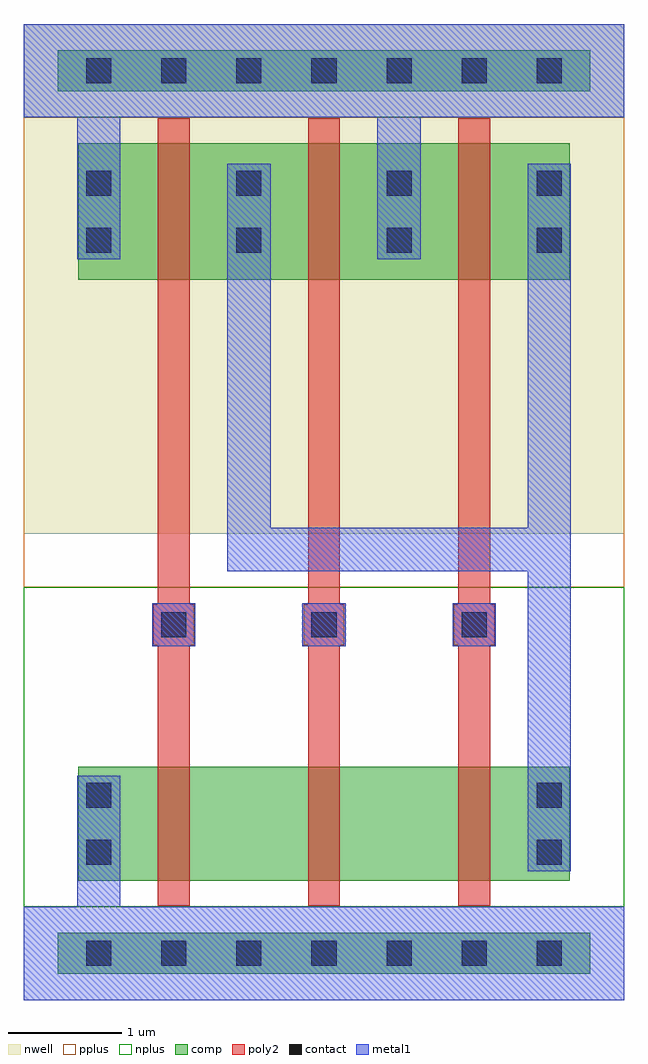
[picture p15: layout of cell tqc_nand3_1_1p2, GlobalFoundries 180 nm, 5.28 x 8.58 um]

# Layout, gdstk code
import gdstk
lib = gdstk.Library(unit=1e-6, precision=1e-09)
def R(c, l, rs):  # rectangles x0, y0, x1, y1
    for r in rs: c.add(gdstk.rectangle(r[:2], r[2:], *l))
def A(c, l, x, y, w, h, nx, ny, dx, dy):  # array of equal rectangles
    R(c, l, [(x+i*dx, y+j*dy, x+i*dx+w, y+j*dy+h) for i in range(nx) for j in range(ny)])
nwell = (21, 0)
comp = (22, 0)
poly2 = (30, 0)
pplus = (31, 0)
nplus = (32, 0)
contact = (33, 0)
metal1 = (34, 0)

tqc_nand3_1_1p2 = lib.new_cell('tqc_nand3_1_1p2')
R(tqc_nand3_1_1p2, nwell, [(0,4.1,5.28,8.58)])
R(tqc_nand3_1_1p2, comp, [(0.3,0.23,4.98,0.59), (0.48,1.05,4.8,2.05), (0.48,6.33,4.8,7.53), (0.3,7.99,4.98,8.35)])
A(tqc_nand3_1_1p2, poly2, 1.18, 0.83, 0.28, 6.92, 3, 1, 1.32, 0)
A(tqc_nand3_1_1p2, poly2, 1.14, 3.12, 0.36, 0.36, 3, 1, 1.32, 0)
R(tqc_nand3_1_1p2, pplus, [(0,0,5.28,0.82), (0,3.63,5.28,7.76)])
R(tqc_nand3_1_1p2, nplus, [(0,0.82,5.28,3.63), (0,7.76,5.28,8.58)])
A(tqc_nand3_1_1p2, contact, 0.55, 0.3, 0.22, 0.22, 7, 2, 0.66, 7.76)
A(tqc_nand3_1_1p2, contact, 1.21, 3.19, 0.22, 0.22, 3, 1, 1.32, 0)
A(tqc_nand3_1_1p2, contact, 0.55, 6.57, 0.22, 0.22, 4, 2, 1.32, 0.5)
R(tqc_nand3_1_1p2, contact, [(0.55,1.19,0.77,1.41), (4.51,1.19,4.73,1.41), (0.55,1.69,0.77,1.91), (4.51,1.69,4.73,1.91)])
A(tqc_nand3_1_1p2, metal1, 1.13, 3.11, 0.38, 0.38, 3, 1, 1.32, 0)
R(tqc_nand3_1_1p2, metal1, [(0,0,5.28,0.82), (0.47,0,0.85,1.97), (4.43,1.13,4.81,1.97), (4.43,1.87,4.81,4.15), (1.79,3.77,4.81,4.15), (1.79,3.77,2.17,6.61), (4.43,3.77,4.81,6.61), (0.47,6.51,0.85,8.58), (1.79,6.51,2.17,7.35), (3.11,6.51,3.49,8.58), (4.43,6.51,4.81,7.35), (0,7.76,5.28,8.58)])

lib.write_gds('tqc_nand3_1_1p2.gds')
